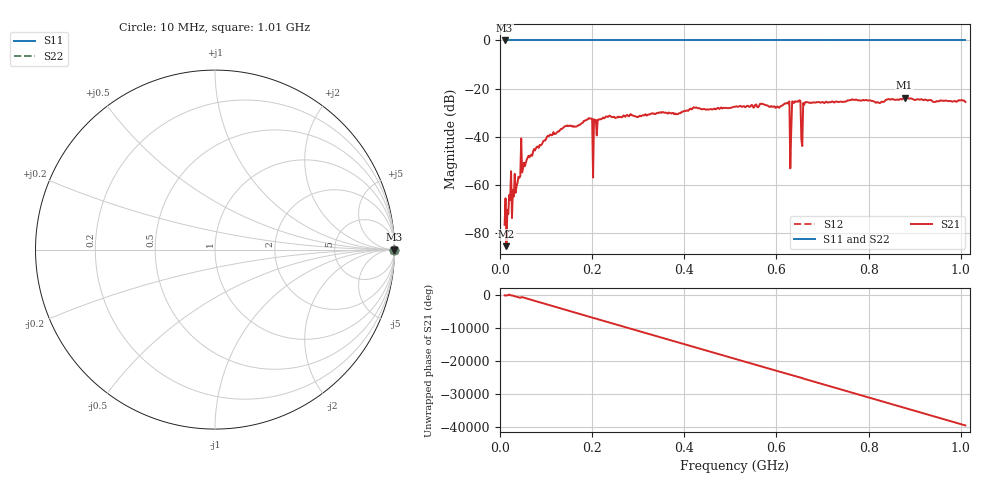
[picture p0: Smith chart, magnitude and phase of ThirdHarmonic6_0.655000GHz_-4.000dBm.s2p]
! 8/15/2025 9:44:15 PM
! C:\ANRITSUVNA\TEMP\TEMP.S2P
! CHANNEL.1
! TR.MEASUREMENT
! RAW.DATA
! RF.CORRECTION.OFF
! AVERAGING.OFF
! IF.BANDWIDTH: 5KHZ
! SWEEPTYPE:  FREQ.SWEEP(Linear)
! Reference Plane Port Info
! PORT:  PORT1  PORT2
! DISTANCE:  0  m  0  m
! TIME:  0  s  0  s
! PHASE.OFFSET:  0  deg.  0  deg.
! LOSS:  0  dB  0  dB
! REF.LOSS:  0  dB  0  dB
! REF.FREQ:  0  Hz  0  Hz
! Power Info
! POWER:  -20  dBm  -20  dBm
! EFF.POWER:  -20  dBm  -20  dBm
! SOURCE.ATTEN:  0  dB  0  dB
! TEST.ATTEN:  0  dB  0  dB
# GHZ S RI R 50.0
! FREQ.GHZ  S11RE  S11IM  S21RE  S21IM  S12RE  S12IM  S22RE  S22IM
!; PortSelection: Port_12
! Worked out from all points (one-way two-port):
!   501 points, 10 MHz to 1.01 GHz, reference 50 ohm
!   highest |S21| = -23.79 dB at 878 MHz (marker M1); lowest = -85.4 dB at 14 MHz (marker M2)
!   lowest |S11| = 0.0 dB at 10 MHz (marker M3)
!   |S11| at or under -10 dB: nowhere
!   |S22| runs from 0.0 to 0.0 dB; largest |S21 - S12| = 1.1
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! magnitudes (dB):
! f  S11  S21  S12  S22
! 10 MHz  0.0  -76.5  0.0  0.0
! 14 MHz  0.0  -85.4  0.0  0.0
! 50 MHz  0.0  -53.1  0.0  0.0
! 178 MHz  0.0  -34.3  0.0  0.0
! 196 MHz  0.0  -32.3  0.0  0.0
! 206 MHz  0.0  -32.9  0.0  0.0
! 208 MHz  0.0  -33.0  0.0  0.0
! 234 MHz  0.0  -31.7  0.0  0.0
! 344 MHz  0.0  -30.1  0.0  0.0
! 510 MHz  0.0  -27.5  0.0  0.0
! 624 MHz  0.0  -25.9  0.0  0.0
! 628 MHz  0.0  -25.3  0.0  0.0
! 634 MHz  0.0  -25.3  0.0  0.0
! 638 MHz  0.0  -26.0  0.0  0.0
! 648 MHz  0.0  -25.4  0.0  0.0
! 652 MHz  0.0  -25.2  0.0  0.0
! 658 MHz  0.0  -26.0  0.0  0.0
! 662 MHz  0.0  -25.7  0.0  0.0
! 678 MHz  0.0  -25.8  0.0  0.0
! 844 MHz  0.0  -24.3  0.0  0.0
! 878 MHz  0.0  -23.8  0.0  0.0
! 1.01 GHz  0.0  -25.6  0.0  0.0
